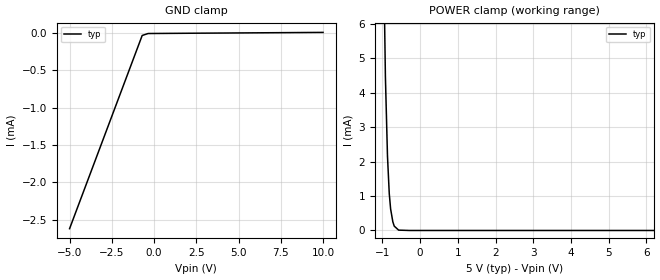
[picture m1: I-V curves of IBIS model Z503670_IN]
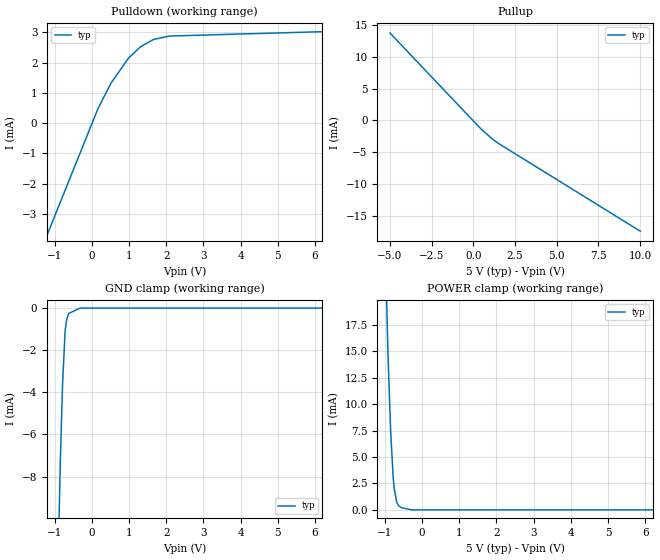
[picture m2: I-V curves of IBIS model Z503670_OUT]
| YOU ARE ONLY AUTHORIZED TO USE THIS SOFTWARE
| ACCORDING TO LICENSOR'S LICENSE RESTRICTIONS.
[IBIS Ver] 3.1
[File Name] mc14556bcl.ibs
[File Rev] 2.0
[Source] Measured and created by ICX Technology
[Date] Friday 7/14/00 9:07:57 AM
[Copyright]
| (C) COPYRIGHT 1993-2000
| MENTOR GRAPHICS CORPORATION
| ICX STANDARD LIBRARY, ICX PROJECT MODELING,
| ICX CUSTOM MODELING, ICX VENDOR MODEL
| ALL RIGHTS RESERVED.
| THE FOLLOWING ARE TRADEMARKS OR SERVICE MARKS OF
| MENTOR GRAPHICS CORPORATION:ICX (R), ICX STANDARD
| LIBRARY(R), ICX PROJECT MODELING(R), ICX CUSTOM
| MODELING(R), qualityIBIS(TM), MODELVIEWER(TM),
| AND MODELEDITOR(TM)
| ALL COPIES OF SOFTWARE, INCLUDING BUT NOT LIMITED TO
| ANY MODIFICATIONS, ENHANCEMENTS OR DERIVATIVE WORKS,
| MUST CONTAIN ALL MENTOR GRAPHICS CORPORATION'S
| NOTICES AND LEGENDS, INCLUDING THOSE EMBEDDED IN
| SOFTWARE AND THOSE AFFIXED TO SOFTWARE MEDIUM
| AND CONTAINER, AS RECEIVED FROM MENTOR GRAPHICS
| CORPORATION.
|  ZAP Model Builder 2.7
[Component] MC14556BCL
[Manufacturer] OnSemiconductor
[Package]
| variable   typ   min   max
R_pkg  .156ohms NA NA
L_pkg  3.148nH NA NA
C_pkg  .388pF NA NA
[Pin] signal_name  model_name  R_pin  L_pin C_pin
1 _E Z503670_IN .162 3.798n .418p
2 A1 Z503670_IN .158 3.358n .398p
3 B1 Z503670_IN .154 2.928n .378p
4 _Q0A Z503670_OUT .15 2.508n .358p
5 _Q1A Z503670_OUT .15 2.508n .358p
6 _Q2A Z503670_OUT .154 2.928n .378p
7 _Q3A Z503670_OUT .158 3.358n .398p
8 VSS POWER .162 3.798n .418p
9 _Q3B Z503670_OUT .162 3.798n .418p
10 _Q2B Z503670_OUT .158 3.358n .398p
11 _Q1B Z503670_OUT .154 2.928n .378p
12 _Q0B Z503670_OUT .15 2.508n .358p
13 B2 Z503670_IN .15 2.508n .358p
14 A2 Z503670_IN .154 2.928n .378p
15 _E Z503670_IN .158 3.358n .398p
16 VDD POWER .162 3.798n .418p
| Models and submodels in the file (2): Z503670_IN (Input), Z503670_OUT (Output)
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| (C) COPYRIGHT 1993-2000
| MENTOR GRAPHICS CORPORATION
| ICX STANDARD LIBRARY, ICX PROJECT MODELING,
| ICX CUSTOM MODELING, ICX VENDOR MODEL
| ALL RIGHTS RESERVED.
| THE FOLLOWING ARE TRADEMARKS OR SERVICE MARKS OF
| MENTOR GRAPHICS CORPORATION:ICX (R), ICX STANDARD
| LIBRARY(R), ICX PROJECT MODELING(R), ICX CUSTOM
| MODELING(R), qualityIBIS(TM), MODELVIEWER(TM),
| AND MODELEDITOR(TM)
| ALL COPIES OF SOFTWARE, INCLUDING BUT NOT LIMITED TO
| ANY MODIFICATIONS, ENHANCEMENTS OR DERIVATIVE WORKS,
| MUST CONTAIN ALL MENTOR GRAPHICS CORPORATION'S
| NOTICES AND LEGENDS, INCLUDING THOSE EMBEDDED IN
| SOFTWARE AND THOSE AFFIXED TO SOFTWARE MEDIUM
| AND CONTAINER, AS RECEIVED FROM MENTOR GRAPHICS
| CORPORATION.
| Model Application Version 1.89 2/18/99.
[Model] Z503670_IN
Model_type Input
Vinl = 1.500V
Vinh = 3.500V
C_comp 4.000pF NA NA
| variable typ   min   max
[Voltage Range] 5.000V NA NA
[GND Clamp Reference] 0.000V NA NA
[POWER Clamp Reference] 5.000V NA NA
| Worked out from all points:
|   POWER clamp passes 1 mA (typ) near -0.81 V on its own axis
[GND Clamp]
-5V       -2.619mA   NA         NA
-703.2mV  -37.27uA   NA         NA
-351.6mV  -11.02uA   NA         NA
10V       3.888uA    NA         NA
[POWER Clamp]
-5V       457.8mA    NA         NA
-1.014V   11.33mA    NA         NA
-922mV    4.47mA     NA         NA
-867mV    2.165mA    NA         NA
-820mV    1.076mA    NA         NA
-784mV    627.7uA    NA         NA
-725mV    252.8uA    NA         NA
-688mV    126.7uA    NA         NA
-571mV    10.11uA    NA         NA
-285.5mV  0A         NA         NA
10V       0A         NA         NA
| (C) COPYRIGHT 1993-2000
| MENTOR GRAPHICS CORPORATION
| ICX STANDARD LIBRARY, ICX PROJECT MODELING,
| ICX CUSTOM MODELING, ICX VENDOR MODEL
| ALL RIGHTS RESERVED.
| THE FOLLOWING ARE TRADEMARKS OR SERVICE MARKS OF
| MENTOR GRAPHICS CORPORATION:ICX (R), ICX STANDARD
| LIBRARY(R), ICX PROJECT MODELING(R), ICX CUSTOM
| MODELING(R), qualityIBIS(TM), MODELVIEWER(TM),
| AND MODELEDITOR(TM)
| ALL COPIES OF SOFTWARE, INCLUDING BUT NOT LIMITED TO
| ANY MODIFICATIONS, ENHANCEMENTS OR DERIVATIVE WORKS,
| MUST CONTAIN ALL MENTOR GRAPHICS CORPORATION'S
| NOTICES AND LEGENDS, INCLUDING THOSE EMBEDDED IN
| SOFTWARE AND THOSE AFFIXED TO SOFTWARE MEDIUM
| AND CONTAINER, AS RECEIVED FROM MENTOR GRAPHICS
| CORPORATION.
| Model Application Version 1.89 2/18/99.
[Model] Z503670_OUT
Model_type Output
Vref=0.000V
Rref=500.0Mohms
Cref=50.00pF
Vmeas=2.500V
C_comp 8.000pF NA NA
| variable typ   min   max
[Voltage Range] 5.000V NA NA
[POWER Clamp Reference] 5.000V NA NA
[Pullup Reference] 5.000V NA NA
[Pulldown Reference] 0.000V NA NA
[GND Clamp Reference] 0.000V NA NA
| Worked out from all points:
|   slope of the pulldown table from 0 to 0.75 V, typ, clamps not added: 426 ohm
|   slope of the pullup table from 0 to 0.75 V, typ, clamps not added: 388 ohm
|   GND clamp passes 1 mA (typ) near -0.71 V on its own axis
|   POWER clamp passes 1 mA (typ) near -0.70 V on its own axis
[GND Clamp]
-5V       -337.9mA   NA         NA
-848.4mV  -7.368mA   NA         NA
-786.1mV  -3.579mA   NA         NA
-717.5mV  -1.068mA   NA         NA
-678.7mV  -567uA     NA         NA
-625mV    -259uA     NA         NA
-312.5mV  0A         NA         NA
10V       0A         NA         NA
[Pulldown]
-5V       -15.29mA   NA         NA
166mV     482.6uA    NA         NA
512.7mV   1.319mA    NA         NA
986.3mV   2.153mA    NA         NA
1.318V    2.536mA    NA         NA
1.656V    2.768mA    NA         NA
2.093V    2.882mA    NA         NA
10V       3.159mA    NA         NA
[Pullup]
-5V       13.72mA    NA         NA
451mV     -1.342mA   NA         NA
1.154V    -2.96mA    NA         NA
1.484V    -3.597mA   NA         NA
10V       -17.41mA   NA         NA
[POWER Clamp]
-5V       585.6mA    NA         NA
-917mV    14.67mA    NA         NA
-848mV    7.579mA    NA         NA
-779mV    3.105mA    NA         NA
-751mV    2.025mA    NA         NA
-684mV    736.3uA    NA         NA
-630mV    370.5uA    NA         NA
-557mV    208.2uA    NA         NA
-278.5mV  0A         NA         NA
10V       0A         NA         NA
[Ramp]
| variable typ min max
dV/dt_r 2.619/11.81n NA NA
dV/dt_f 2.619/17.98n NA NA
R_load = 2.500kOhms
